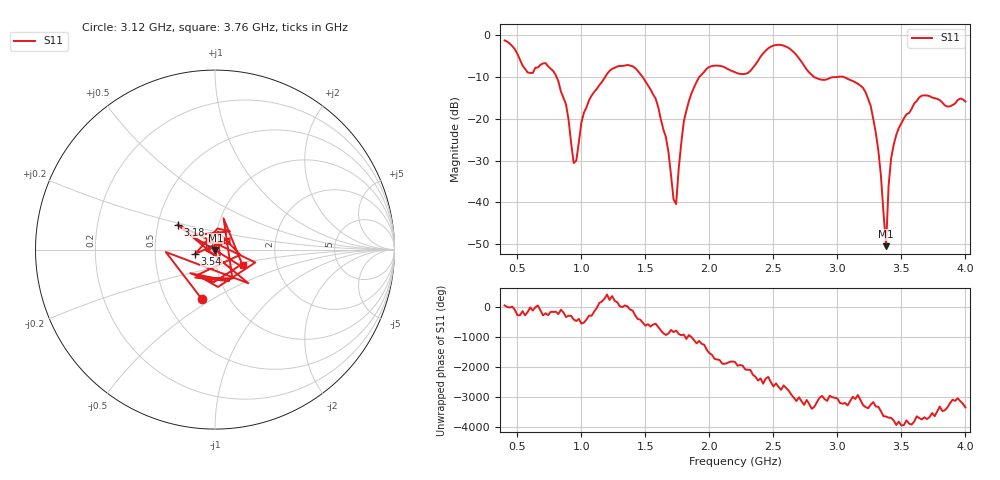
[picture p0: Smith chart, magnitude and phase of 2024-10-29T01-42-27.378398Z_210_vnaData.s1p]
!Created with skrf (http://scikit-rf.org).
# Hz S RI R 50.0
!freq ReS11 ImS11
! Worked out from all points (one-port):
!   181 points, 400 MHz to 4 GHz, reference 50 ohm
!   lowest |S11| = -50.5 dB at 3.38 GHz (marker M1), VSWR 1.01, Z = 50.2 - j0.19 ohm
!   |S11| at or under -10 dB: 806.6 MHz to 1.185 GHz (378 MHz wide, 38 % of centre); 1.479 GHz to 1.919 GHz (439.8 MHz wide, 25.9 % of centre); 3.054 GHz to end of sweep (the widest 3 of 4)
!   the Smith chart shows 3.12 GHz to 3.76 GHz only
!   S11 on the Smith chart (normalised r, x): 3.12 GHz: 0.75, -0.45; 3.18 GHz: 0.63, +0.19; 3.54 GHz: 0.80, -0.04; 3.76 GHz: 1.34, -0.24
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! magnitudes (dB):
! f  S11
! 400 MHz  -1.2
! 580 MHz  -8.9
! 720 MHz  -6.6
! 860 MHz  -15.0
! 940 MHz  -30.6
! 1.06 GHz  -15.5
! 1.3 GHz  -7.3
! 1.58 GHz  -15.1
! 1.66 GHz  -24.3
! 1.74 GHz  -40.4
! 1.76 GHz  -32.0
! 1.8 GHz  -20.6
! 1.92 GHz  -10.0
! 2.2 GHz  -8.8
! 2.66 GHz  -4.0
! 2.82 GHz  -10.0
! 3.1 GHz  -10.7
! 3.12 GHz  -10.9
! 3.18 GHz  -12.0
! 3.3 GHz  -23.3
! 3.34 GHz  -33.6
! 3.38 GHz  -50.5
! 3.4 GHz  -36.0
! 3.42 GHz  -29.4
! 3.54 GHz  -18.9
! 3.56 GHz  -18.6
! 3.76 GHz  -15.0
! 4 GHz  -15.8
